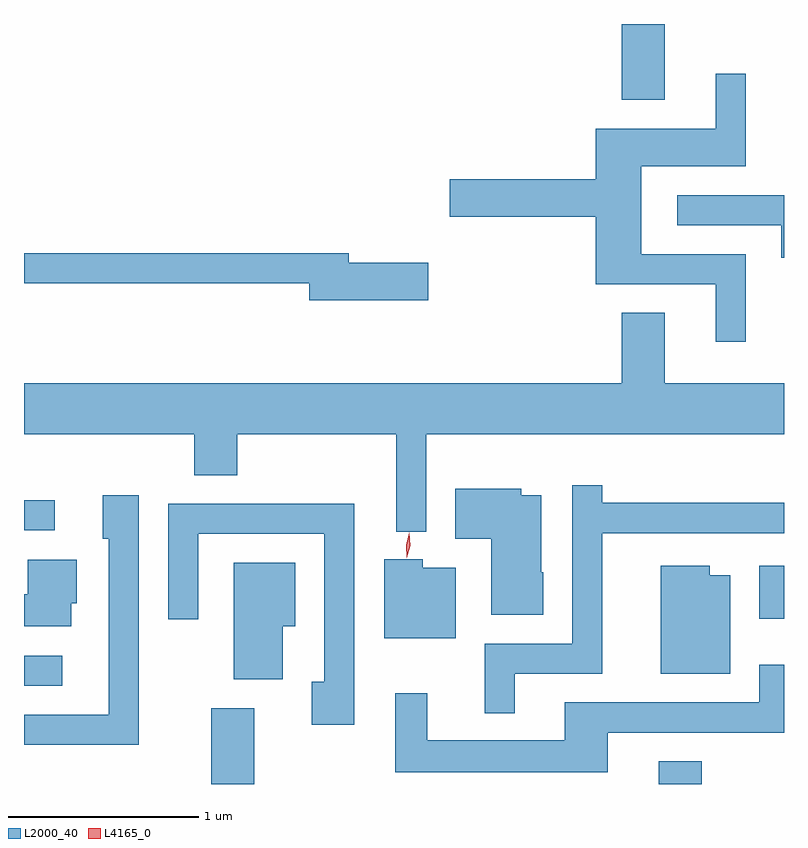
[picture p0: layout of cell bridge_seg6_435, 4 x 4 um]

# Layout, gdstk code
import gdstk
lib = gdstk.Library(unit=1e-6, precision=1e-09)
def R(c, l, rs):  # rectangles x0, y0, x1, y1
    for r in rs: c.add(gdstk.rectangle(r[:2], r[2:], *l))
def P(c, l, *ps):  # polygons
    for p in ps: c.add(gdstk.Polygon(p, *l))
L2000_40 = (2000, 40)
L4165_0 = (4165, 0)

bridge_seg6_435 = lib.new_cell('bridge_seg6_435')
R(bridge_seg6_435, L2000_40, [(670.221,1652.535,670.449,1652.934), (672.576,1652.535,672.804,1652.654), (669.236,1653.051,669.438,1653.209), (673.106,1653.406,673.236,1653.684), (669.236,1653.871,669.398,1654.029), (672.381,1656.136,672.609,1656.535)])
P(bridge_seg6_435, L2000_40, [(673.034,1655.324),(672.484,1655.324),(672.484,1655.786),(673.034,1655.786),(673.034,1656.273),(672.876,1656.273),(672.876,1655.984),(672.246,1655.984),(672.246,1655.719),(671.476,1655.719),(671.476,1655.521),(672.246,1655.521),(672.246,1655.166),(672.876,1655.166),(672.876,1654.863),(673.034,1654.863)],
  [(673.236,1655.634),(672.673,1655.634),(672.673,1655.476),(673.221,1655.476),(673.221,1655.306),(673.236,1655.306)],
  [(671.364,1655.279),(670.944,1655.279),(670.944,1655.329),(669.236,1655.329),(669.236,1655.171),(670.736,1655.171),(670.736,1655.081),(671.364,1655.081)],
  [(671.354,1654.376),(673.236,1654.376),(673.236,1654.644),(672.609,1654.644),(672.609,1655.014),(672.381,1655.014),(672.381,1654.644),(669.236,1654.644),(669.236,1654.376),(670.131,1654.376),(670.131,1654.161),(670.359,1654.161),(670.359,1654.376),(671.196,1654.376),(671.196,1653.863),(671.354,1653.863)],
  [(671.819,1653.116),(672.279,1653.116),(672.279,1653.856),(673.236,1653.856),(673.236,1654.014),(672.279,1654.014),(672.279,1654.108),(672.121,1654.108),(672.121,1653.274),(671.661,1653.274),(671.661,1652.908),(671.819,1652.908)],
  [(671.969,1653.65),(671.959,1653.65),(671.959,1654.054),(671.854,1654.054),(671.854,1654.089),(671.506,1654.089),(671.506,1653.826),(671.696,1653.826),(671.696,1653.426),(671.969,1653.426)],
  [(669.839,1654.054),(669.651,1654.054),(669.651,1653.826),(669.681,1653.826),(669.681,1652.899),(669.236,1652.899),(669.236,1652.741),(669.839,1652.741)],
  [(670.974,1654.009),(669.996,1654.009),(669.996,1653.403),(670.154,1653.403),(670.154,1653.851),(670.816,1653.851),(670.816,1653.074),(670.751,1653.074),(670.751,1652.846),(670.974,1652.846)],
  [(671.509,1653.674),(671.334,1653.674),(671.334,1653.719),(671.131,1653.719),(671.131,1653.301),(671.509,1653.301)],
  [(669.484,1653.486),(669.514,1653.486),(669.514,1653.714),(669.256,1653.714),(669.256,1653.534),(669.236,1653.534),(669.236,1653.366),(669.484,1653.366)],
  [(670.599,1653.366),(670.664,1653.366),(670.664,1653.699),(670.341,1653.699),(670.341,1653.086),(670.599,1653.086)],
  [(672.954,1653.634),(672.844,1653.634),(672.844,1653.684),(672.586,1653.684),(672.586,1653.116),(672.954,1653.116)],
  [(672.309,1652.806),(673.236,1652.806),(673.236,1653.163),(673.106,1653.163),(673.106,1652.964),(672.081,1652.964),(672.081,1652.764),(671.359,1652.764),(671.359,1653.013),(671.191,1653.013),(671.191,1652.596),(672.309,1652.596)])
P(bridge_seg6_435, L4165_0, [(671.25,1653.725),(671.248,1653.792),(671.264,1653.857),(671.264,1653.858),(671.264,1653.857),(671.268,1653.79),(671.251,1653.725),(671.251,1653.725)])

lib.write_gds('bridge_seg6_435.gds')
